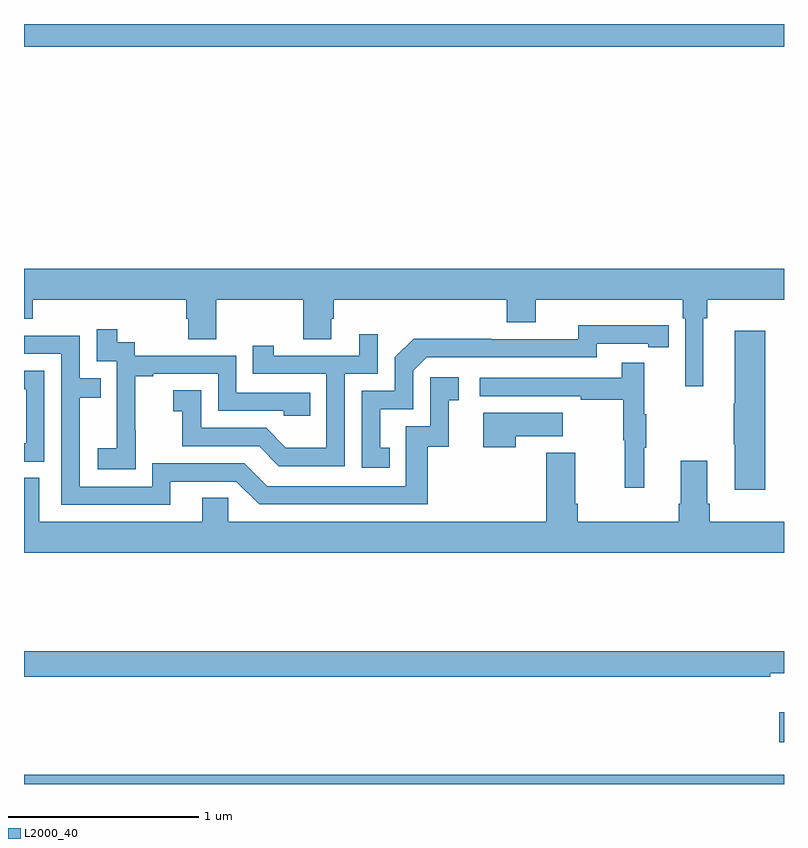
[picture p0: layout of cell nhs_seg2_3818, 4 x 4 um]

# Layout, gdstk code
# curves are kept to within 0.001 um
import gdstk
lib = gdstk.Library(unit=1e-6, precision=1e-09)
def R(c, l, rs):  # rectangles x0, y0, x1, y1
    for r in rs: c.add(gdstk.rectangle(r[:2], r[2:], *l))
def P(c, l, *ps):  # polygons
    for p in ps: c.add(gdstk.Polygon(p, *l))
L2000_40 = (2000, 40)

nhs_seg2_3818 = lib.new_cell('nhs_seg2_3818')
R(nhs_seg2_3818, L2000_40, [(313,599.8,317,599.848), (316.976,600.02,317,600.178), (313,603.68,317,603.8)])
P(nhs_seg2_3818, L2000_40, [(316.576,602.252),(316.595,602.252),(316.595,602.348),(317,602.348),(317,602.512),(313,602.512),(313,602.249),(313.046,602.249),(313.046,602.348),(313.853,602.348),(313.853,602.25),(313.865,602.25),(313.865,602.14),(314.013,602.14),(314.013,602.348),(314.47,602.348),(314.47,602.14),(314.617,602.14),(314.617,602.25),(314.63,602.25),(314.63,602.348),(315.542,602.348),(315.542,602.231),(315.694,602.231),(315.694,602.348),(316.466,602.348),(316.466,602.252),(316.479,602.252),(316.479,601.893),(316.576,601.893)],
  [(314.924,601.569),(314.875,601.569),(314.875,601.773),(315.048,601.773),(315.048,601.974),(315.12,602.046),(316.014,602.046),(316.014,602.118),(316.286,602.118),(316.286,602.098),(316.394,602.098),(316.394,602.214),(315.918,602.215),(315.918,602.142),(315.458,602.142),(315.458,602.144),(315.05,602.144),(314.952,602.046),(314.952,601.869),(314.778,601.869),(314.778,601.464),(314.924,601.464)],
  [(313.587,601.663),(313.586,601.663),(313.586,601.947),(313.681,601.947),(313.681,601.959),(314.022,601.959),(314.022,601.764),(314.367,601.764),(314.367,601.737),(314.507,601.737),(314.507,601.86),(314.118,601.86),(314.118,602.055),(313.584,602.055),(313.584,602.124),(313.492,602.124),(313.492,602.194),(313.383,602.194),(313.383,602.025),(313.488,602.025),(313.488,601.796),(313.487,601.796),(313.487,601.567),(313.389,601.567),(313.389,601.457),(313.587,601.457)],
  [(316.901,602.185),(316.742,602.185),(316.742,601.805),(316.735,601.805),(316.735,601.588),(316.742,601.588),(316.742,601.35),(316.901,601.35)],
  [(314.688,601.959),(314.862,601.959),(314.862,602.167),(314.765,602.167),(314.765,602.055),(314.314,602.055),(314.314,602.107),(314.203,602.107),(314.203,601.959),(314.592,601.959),(314.592,601.57),(314.378,601.57),(314.274,601.674),(313.932,601.674),(313.932,601.873),(313.785,601.873),(313.785,601.763),(313.834,601.763),(313.834,601.578),(314.237,601.578),(314.342,601.473),(314.688,601.473)],
  [(313.771,601.392),(314.118,601.392),(314.238,601.272),(315.125,601.272),(315.125,601.575),(315.236,601.575),(315.236,601.821),(315.289,601.821),(315.289,601.942),(315.138,601.942),(315.138,601.683),(315.009,601.683),(315.009,601.368),(314.28,601.368),(314.16,601.488),(313.674,601.488),(313.674,601.365),(313.293,601.365),(313.293,601.834),(313.403,601.834),(313.403,601.935),(313.293,601.935),(313.293,602.16),(313,602.16),(313,602.064),(313.197,602.064),(313.197,601.269),(313.771,601.269)],
  [(316.265,601.571),(316.276,601.571),(316.276,601.745),(316.265,601.745),(316.265,602.017),(316.147,602.017),(316.147,601.938),(315.399,601.938),(315.399,601.842),(315.931,601.842),(315.931,601.822),(316.155,601.822),(316.155,601.608),(316.162,601.608),(316.162,601.359),(316.265,601.359)],
  [(313.107,601.974),(313,601.974),(313,601.878),(313.011,601.878),(313.011,601.593),(313,601.593),(313,601.497),(313.107,601.497)],
  [(315.587,601.631),(315.835,601.631),(315.835,601.753),(315.416,601.753),(315.416,601.572),(315.587,601.572)],
  [(317,601.18),(316.61,601.18),(316.61,601.276),(316.597,601.276),(316.597,601.501),(316.457,601.501),(316.457,601.276),(316.445,601.276),(316.445,601.18),(315.914,601.18),(315.914,601.276),(315.901,601.276),(315.901,601.543),(315.749,601.543),(315.749,601.18),(314.076,601.18),(314.076,601.307),(313.937,601.307),(313.937,601.18),(313.081,601.18),(313.081,601.412),(313,601.412),(313,601.016),(317,601.016)],
  [(316.928,600.383),(317,600.383),(317,600.5),(313,600.5),(313,600.364),(316.928,600.364)])

lib.write_gds('nhs_seg2_3818.gds')
